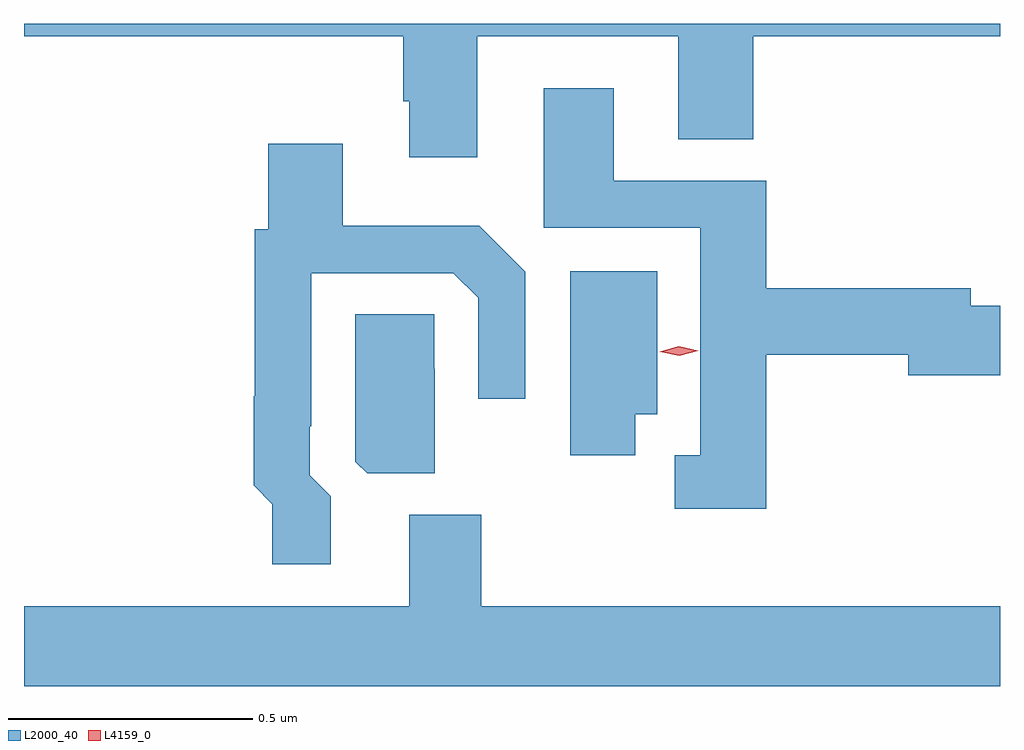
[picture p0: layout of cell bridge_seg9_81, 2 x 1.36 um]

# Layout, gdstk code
import gdstk
lib = gdstk.Library(unit=1e-6, precision=1e-09)
def P(c, l, *ps):  # polygons
    for p in ps: c.add(gdstk.Polygon(p, *l))
L2000_40 = (2000, 40)
L4159_0 = (4159, 0)

bridge_seg9_81 = lib.new_cell('bridge_seg9_81')
P(bridge_seg9_81, L2000_40, [(892.399,1193.756),(892.811,1193.756),(892.811,1193.545),(892.964,1193.545),(892.964,1193.756),(893.47,1193.756),(893.47,1193.782),(891.47,1193.782),(891.47,1193.756),(892.247,1193.756),(892.247,1193.623),(892.259,1193.623),(892.259,1193.508),(892.399,1193.508)],
  [(892.991,1193.104),(893.282,1193.104),(893.282,1193.062),(893.47,1193.062),(893.47,1193.204),(893.41,1193.204),(893.41,1193.24),(892.991,1193.24),(892.991,1193.46),(892.678,1193.46),(892.678,1193.65),(892.535,1193.65),(892.535,1193.364),(892.856,1193.364),(892.856,1192.898),(892.804,1192.898),(892.804,1192.788),(892.991,1192.788)],
  [(892.099,1192.814),(892.056,1192.857),(892.056,1192.957),(892.059,1192.957),(892.059,1193.271),(892.35,1193.271),(892.401,1193.22),(892.401,1193.013),(892.497,1193.013),(892.497,1193.274),(892.403,1193.368),(892.123,1193.368),(892.123,1193.536),(891.971,1193.536),(891.971,1193.361),(891.943,1193.361),(891.943,1193.018),(891.941,1193.018),(891.941,1192.836),(891.979,1192.797),(891.979,1192.674),(892.099,1192.674)],
  [(892.723,1192.982),(892.768,1192.982),(892.768,1193.275),(892.589,1193.275),(892.589,1192.898),(892.723,1192.898)],
  [(892.312,1193.075),(892.311,1193.075),(892.311,1193.186),(892.149,1193.186),(892.149,1192.884),(892.173,1192.861),(892.312,1192.861)],
  [(893.47,1192.588),(892.407,1192.588),(892.407,1192.776),(892.259,1192.776),(892.259,1192.588),(891.47,1192.588),(891.47,1192.424),(893.47,1192.424)])
P(bridge_seg9_81, L4159_0, [(892.813,1193.101),(892.773,1193.11),(892.773,1193.11),(892.773,1193.11),(892.812,1193.121),(892.852,1193.112),(892.852,1193.112),(892.852,1193.112)])

lib.write_gds('bridge_seg9_81.gds')
